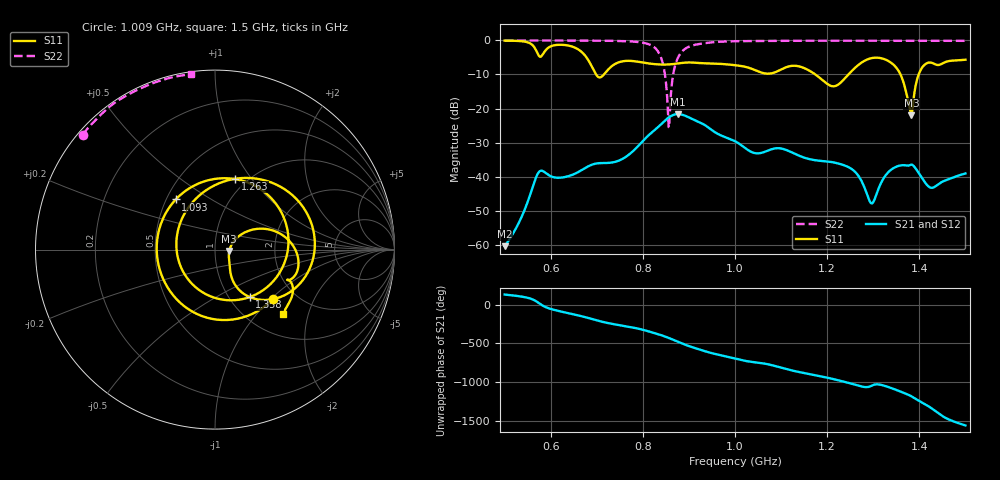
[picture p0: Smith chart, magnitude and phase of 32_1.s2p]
! TOUCHSTONE file generated by CST MICROWAVE STUDIO
! Date and time: Sat Nov 14 20:41:12 2020
! Project name: Scenario_1_Planar_Body_Tissue_Out_of_Line_v2.cst
! Parameters = {dy1=-190.3; L_HA=400; Ltissue=700; MT=2.54; Rad_Dielectric=30; Rad_Lower=7.3; Rad_Upper=30; Wtissue=700; a_HA=580; a_WG=246; b_HA=500; b_WG=121; c_HA=0; c_WG=187; d_feed=85; dx1=173; h_feed=15; h_lower=18; h_upper=40; hfat=3; hgap=25; hmuscle=50; hskin=1.5}
! Header version: 2018
! Port assignment regex: !\s*Touchstone port\s*([0-9]+)\s*=\s*(CST MWS port|CST DS port)\s*([0-9]+|Zmin|Zmax)\s*\(\"(.*)\"\)(\s*mode\s*([0-9]+))?.*
! Touchstone port assignment:
! Touchstone port 1 = CST MWS port 1 ("")
! Touchstone port 2 = CST MWS port 2 ("")
# GHz S DB R 50
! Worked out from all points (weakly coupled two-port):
!   1003 points, 500 MHz to 1.5 GHz, reference 50 ohm
!   highest |S21| = -21.64 dB at 876 MHz (marker M1); lowest = -60.4 dB at 500 MHz (marker M2)
!   lowest |S11| = -21.9 dB at 1.383 GHz (marker M3), VSWR 1.17, Z = 58.6 - j0.955 ohm
!   |S11| at or under -10 dB: 698.4 MHz to 715.5 MHz (17.13 MHz wide, 2.42 % of centre); 1.174 GHz to 1.246 GHz (71.9 MHz wide, 5.94 % of centre); 1.359 GHz to 1.399 GHz (39.41 MHz wide, 2.86 % of centre)
!   |S22| runs from -25.6 to 0.0 dB; largest |S21 - S12| = 3e-05
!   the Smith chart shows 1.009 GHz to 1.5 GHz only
!   S11 on the Smith chart (normalised r, x): 1.009 GHz: 1.53, -1.03; 1.093 GHz: 0.56, +0.36; 1.263 GHz: 0.88, +0.84; 1.358 GHz: 1.24, -0.74; 1.5 GHz: 1.41, -1.39
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0.5  -0.05 -121.8  -60.44 128.7  -60.44 128.7  -0.01 151.1
0.575  -4.62 -162.1  -38.57 15.9  -38.57 15.9  -0.02 146.0
0.628  -1.32 171.8  -40.20 -98.5  -40.20 -98.5  -0.03 141.9
0.667  -3.36 111.1  -38.11 -151.0  -38.11 -151.0  -0.04 138.4
0.694  -8.94 26.4  -36.31 165.5  -36.31 165.5  -0.06 135.5
0.72  -9.29 -100.7  -36.01 125.8  -36.01 125.8  -0.10 132.3
0.762  -6.02 161.6  -34.30 80.7  -34.30 80.7  -0.22 125.0
0.834  -7.05 24.2  -25.33 -25.0  -25.33 -25.0  -3.47 81.9
0.857  -7.04 -35.1  -22.55 -73.6  -22.55 -73.6  -25.61 -69.2
0.876  -6.76 -89.4  -21.64 -121.2  -21.64 -121.2  -5.14 -169.4
0.906  -6.49 -177.7  -23.02 171.3  -23.02 171.3  -1.54 163.5
0.939  -6.74 97.9  -25.27 109.5  -25.27 109.5  -0.73 151.8
1  -7.27 -24.1  -29.61 21.1  -29.61 21.2  -0.23 140.2
1.009  -7.43 -40.7  -30.34 8.3  -30.34 8.3  -0.21 139.0
1.093  -9.00 128.0  -31.66 -83.9  -31.66 -83.9  -0.14 130.3
1.167  -9.33 -45.7  -35.03 176.3  -35.03 176.3  -0.08 124.1
1.263  -7.74 74.1  -38.96 40.1  -38.96 40.0  -0.09 116.8
1.334  -6.13 -26.3  -38.54 11.9  -38.54 11.9  -0.09 111.5
1.358  -9.68 -53.7  -36.75 -41.0  -36.75 -41.0  -0.09 109.7
1.383  -21.94 -5.8  -36.47 -105.5  -36.47 -105.5  -0.09 107.7
1.411  -7.20 2.6  -41.46 158.7  -41.46 158.7  -0.09 105.5
1.5  -5.67 -43.6  -39.08 -121.4  -39.08 -121.4  -0.12 97.9
